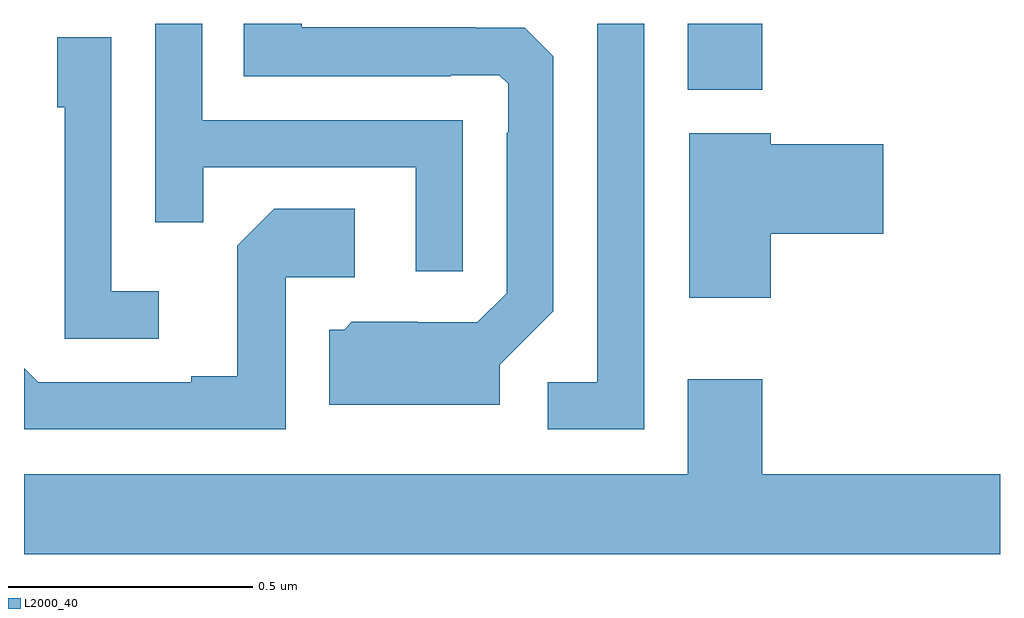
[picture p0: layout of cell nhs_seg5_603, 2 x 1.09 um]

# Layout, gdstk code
import gdstk
lib = gdstk.Library(unit=1e-6, precision=1e-09)
def R(c, l, rs):  # rectangles x0, y0, x1, y1
    for r in rs: c.add(gdstk.rectangle(r[:2], r[2:], *l))
def P(c, l, *ps):  # polygons
    for p in ps: c.add(gdstk.Polygon(p, *l))
L2000_40 = (2000, 40)

nhs_seg5_603 = lib.new_cell('nhs_seg5_603')
R(nhs_seg5_603, L2000_40, [(119.36,905.664,119.513,905.799)])
P(nhs_seg5_603, L2000_40, [(119.271,905.799),(119.175,905.799),(119.175,905.064),(119.073,905.064),(119.073,904.968),(119.271,904.968)],
  [(118.975,905.1),(119.085,905.21),(119.085,905.732),(119.026,905.791),(118.925,905.791),(118.925,905.792),(118.569,905.792),(118.569,905.799),(118.45,905.799),(118.45,905.691),(118.874,905.691),(118.874,905.694),(118.974,905.694),(118.992,905.676),(118.992,905.576),(118.989,905.576),(118.989,905.247),(118.929,905.187),(118.806,905.187),(118.806,905.188),(118.672,905.188),(118.656,905.172),(118.625,905.172),(118.625,905.018),(118.975,905.018)],
  [(118.899,905.601),(118.365,905.601),(118.365,905.799),(118.269,905.799),(118.269,905.392),(118.367,905.392),(118.367,905.505),(118.803,905.505),(118.803,905.292),(118.899,905.292)],
  [(118.276,905.251),(118.179,905.251),(118.179,905.771),(118.068,905.771),(118.068,905.628),(118.083,905.628),(118.083,905.154),(118.276,905.154)],
  [(119.53,905.369),(119.761,905.369),(119.761,905.552),(119.53,905.552),(119.53,905.575),(119.363,905.575),(119.363,905.238),(119.53,905.238)],
  [(118.536,905.28),(118.678,905.28),(118.678,905.42),(118.513,905.42),(118.437,905.344),(118.437,905.077),(118.343,905.077),(118.343,905.064),(118.029,905.064),(118,905.093),(118,904.968),(118.536,904.968)],
  [(120,904.876),(119.513,904.876),(119.513,905.071),(119.36,905.071),(119.36,904.876),(118,904.876),(118,904.712),(120,904.712)])

lib.write_gds('nhs_seg5_603.gds')
